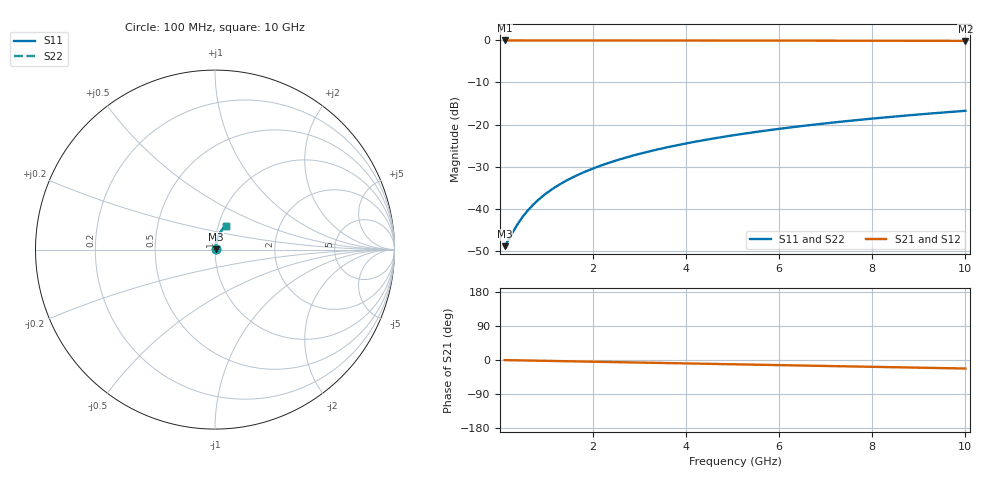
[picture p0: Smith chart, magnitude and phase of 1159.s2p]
# Hz S RI R 50.00
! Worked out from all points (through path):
!   100 points, 100 MHz to 10 GHz, reference 50 ohm
!   highest |S21| = -0.03 dB at 100 MHz (marker M1); lowest = -0.1 dB at 10 GHz (marker M2)
!   group delay of S21, straight-line fit = 6.24 ps
!   lowest |S11| = -48.8 dB at 100 MHz (marker M3), VSWR 1.01, Z = 50.3 + j0.15 ohm
!   |S11| at or under -10 dB: start of sweep to end of sweep
!   |S22| runs from -48.8 to -16.7 dB; largest |S21 - S12| = 0
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1e8  0.0033 0.00149  0.9967 -0.00392  0.9967 -0.00392  0.0033 0.00149
2e8  0.00334 0.00298  0.9966 -0.00783  0.9966 -0.00783  0.00334 0.00298
3e8  0.00338 0.00446  0.9966 -0.0118  0.9966 -0.0118  0.00338 0.00446
4e8  0.00343 0.00595  0.9965 -0.0157  0.9965 -0.0157  0.00343 0.00595
5e8  0.0035 0.00744  0.9964 -0.0196  0.9964 -0.0196  0.0035 0.00744
6e8  0.00357 0.00892  0.9963 -0.0235  0.9963 -0.0235  0.00357 0.00892
7e8  0.00365 0.0104  0.9962 -0.0274  0.9962 -0.0274  0.00365 0.0104
8e8  0.00375 0.0119  0.996 -0.0313  0.996 -0.0313  0.00375 0.0119
1e9  0.00397 0.0149  0.9957 -0.0392  0.9957 -0.0392  0.00397 0.0149
1.2e9  0.00424 0.0178  0.9953 -0.047  0.9953 -0.047  0.00424 0.0178
1.5e9  0.00473 0.0223  0.9946 -0.0587  0.9946 -0.0587  0.00473 0.0223
1.8e9  0.00532 0.0267  0.9937 -0.0704  0.9937 -0.0704  0.00532 0.0267
2.1e9  0.00601 0.0311  0.9926 -0.0821  0.9926 -0.0821  0.00601 0.0311
2.5e9  0.0071 0.0369  0.991 -0.0977  0.991 -0.0977  0.0071 0.0369
2.9e9  0.00836 0.0427  0.9891 -0.1132  0.9891 -0.1132  0.00836 0.0427
3.4e9  0.0102 0.0499  0.9863 -0.1326  0.9863 -0.1326  0.0102 0.0499
4.2e9  0.0137 0.0613  0.9809 -0.1634  0.9809 -0.1634  0.0137 0.0613
5.1e9  0.0185 0.0737  0.9736 -0.1978  0.9736 -0.1978  0.0185 0.0737
5.9e9  0.0235 0.0845  0.966 -0.228  0.966 -0.228  0.0235 0.0845
6.7e9  0.0292 0.0949  0.9573 -0.2579  0.9573 -0.2579  0.0292 0.0949
8.4e9  0.0433 0.1157  0.9354 -0.3201  0.9354 -0.3201  0.0433 0.1157
1e10  0.0589 0.1334  0.9107 -0.3767  0.9107 -0.3767  0.0589 0.1334
